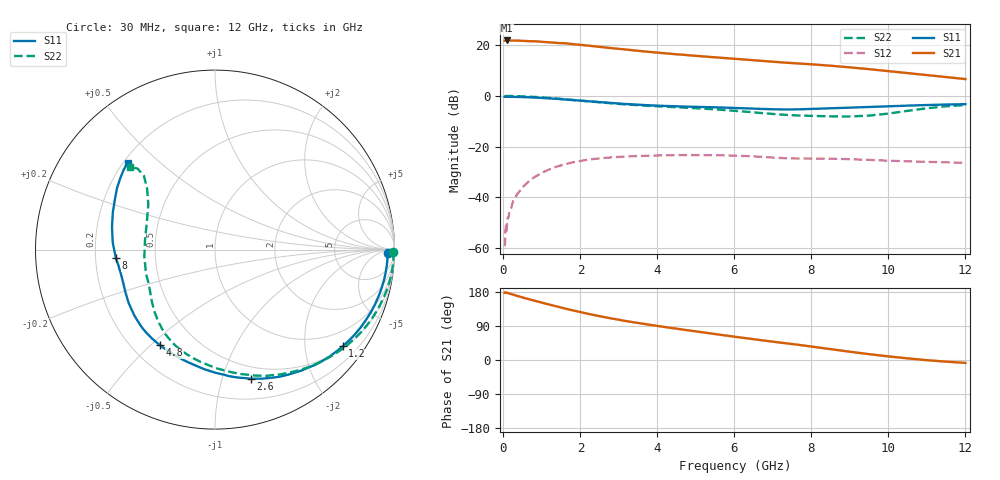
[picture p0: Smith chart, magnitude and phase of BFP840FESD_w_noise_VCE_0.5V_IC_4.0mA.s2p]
! Infineon Technologies  Discrete & RF Semiconductors
! BFP840FESD
! VCE =  0.5 V,  IC =  4.0 mA
! Common Emitter S-Parameters:  May 2012
# GHz  S  MA  R  50
!  f  S11  S21  S12  S22
! GHz  MAG  ANG  MAG  ANG  MAG  ANG  MAG  ANG
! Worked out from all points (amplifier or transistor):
!   103 points, 30 MHz to 12 GHz, reference 50 ohm
!   highest |S21| = 21.8 dB at 100 MHz (marker M1)
!   |S21| within 3 dB of that: start of sweep to 2.793 GHz
!   unconditionally stable (mu >= 1): 7.38 GHz to end of sweep
!   at 400 MHz: K = 0.03, MSG = 29.8 dB, |S12| = -37.9 dB
!   at 3.7 GHz: K = 0.32, MSG = 20.5 dB, |S12| = -23.6 dB
!   at 12 GHz: K = 1.43, MAG = 12.6 dB, |S12| = -26.4 dB
!   lowest NFmin = 0.53 dB at 450 MHz
!   S11 on the Smith chart (normalised r, x): 30 MHz: 44, -20; 1.2 GHz: 0.54, -2.89; 2.6 GHz: 0.38, -1.24; 4.8 GHz: 0.31, -0.53; 8 GHz: 0.29, -0.04; 12 GHz: 0.22, +0.40
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0.03  0.9629 -1.0  12.21 177.5  0.0011 98.0  0.9937 -0.8
0.04  0.9626 -1.3  12.23 177.3  0.0012 85.3  0.9944 -1.1
0.05  0.9619 -1.6  12.3 178.5  0.0022 79.5  0.9967 -1.4
0.08  0.9618 -2.6  12.35 177.6  0.0022 88.5  0.9956 -2.3
0.1  0.9621 -3.2  12.36 177.1  0.0034 89.6  0.9951 -2.9
0.25  0.9593 -8.0  12.29 172.5  0.0085 85.0  0.9926 -7.5
0.6  0.9421 -19.0  12.03 162.1  0.0189 76.0  0.972 -17.9
0.8  0.9278 -25.1  11.92 156.7  0.025 71.4  0.9551 -23.8
1.2  0.8927 -37.1  11.34 146.0  0.0359 62.2  0.9111 -35.3
1.6  0.8507 -49.0  10.9 135.8  0.0451 53.3  0.8591 -46.7
2.1  0.7969 -62.4  9.949 124.1  0.054 43.4  0.7944 -60.2
2.6  0.7459 -74.6  9.06 113.6  0.0599 35.0  0.7368 -72.3
3.4  0.6776 -92.2  7.863 99.2  0.0651 24.3  0.6635 -88.7
4.1  0.6393 -106.2  7.008 88.4  0.0675 17.2  0.6197 -100.5
4.8  0.6143 -120.0  6.33 78.2  0.0683 10.9  0.5825 -111.2
6.1  0.575 -142.8  5.32 60.2  0.0663 1.0  0.5021 -129.9
6.9  0.5486 -156.7  4.773 49.6  0.0617 -3.2  0.4475 -142.6
8  0.5545 -175.3  4.19 35.5  0.0585 -3.0  0.4047 -162.3
8.5  0.5711 176.1  3.931 28.6  0.0581 -4.2  0.3956 -174.4
9.5  0.6058 160.0  3.362 15.4  0.055 -5.9  0.4094 158.1
10.5  0.6442 148.0  2.814 4.3  0.0515 -4.7  0.5083 138.1
12  0.6867 135.1  2.143 -7.6  0.048 0.7  0.6609 136.0
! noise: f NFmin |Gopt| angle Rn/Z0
0.45  0.53  0.56  6  0.19
0.9  0.57  0.54  13  0.19
1.5  0.61  0.49  19  0.19
1.9  0.62  0.45  28  0.19
2.4  0.64  0.43  34  0.19
3.5  0.66  0.41  54  0.18
5.5  0.76  0.29  90  0.13
8  0.95  0.24  149  0.11
10  1.14  0.28  -158  0.1
12  1.34  0.45  -129  0.13
